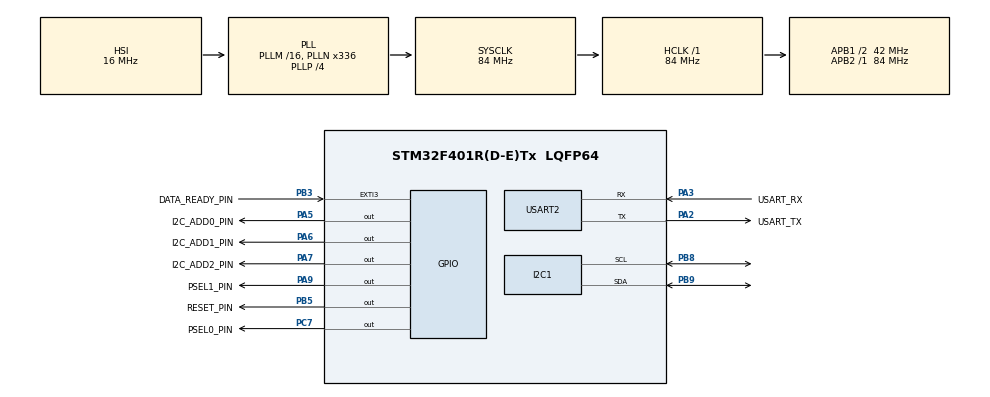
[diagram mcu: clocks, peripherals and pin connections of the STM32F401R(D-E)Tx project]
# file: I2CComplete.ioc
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I2C1.DutyCycle=I2C_DUTYCYCLE_16_9
I2C1.I2C_Mode=I2C_Fast
Mcu.Family=STM32F4
Mcu.Name=STM32F401R(D-E)Tx
Mcu.Package=LQFP64
NVIC.EXTI3_IRQn=true\:0\:0\:false\:false\:true\:true\:true\:true
NVIC.PriorityGroup=NVIC_PRIORITYGROUP_0
PA2.GPIO_Label=USART_TX
PA2.GPIO_Mode=GPIO_MODE_AF_PP
PA2.GPIO_PuPd=GPIO_NOPULL
PA2.GPIO_Speed=GPIO_SPEED_FREQ_LOW
PA2.Mode=Asynchronous
PA2.Signal=USART2_TX
PA3.GPIO_Label=USART_RX
PA3.GPIO_Mode=GPIO_MODE_AF_PP
PA3.GPIO_PuPd=GPIO_NOPULL
PA3.GPIO_Speed=GPIO_SPEED_FREQ_LOW
PA3.Mode=Asynchronous
PA3.Signal=USART2_RX
PA5.GPIO_Label=I2C_ADD0_PIN
PA5.PinState=GPIO_PIN_SET
PA5.Signal=GPIO_Output
PA6.GPIO_Label=I2C_ADD1_PIN
PA6.PinState=GPIO_PIN_SET
PA6.Signal=GPIO_Output
PA7.GPIO_Label=I2C_ADD2_PIN
PA7.PinState=GPIO_PIN_SET
PA7.Signal=GPIO_Output
PA9.GPIO_Label=PSEL1_PIN
PA9.PinState=GPIO_PIN_SET
PA9.Signal=GPIO_Output
PB3.GPIO_Label=DATA_READY_PIN
PB3.GPIO_ModeDefaultEXTI=GPIO_MODE_IT_RISING_FALLING
PB3.GPIO_PuPd=GPIO_PULLDOWN
PB3.Signal=GPXTI3
PB5.GPIO_Label=RESET_PIN
PB5.GPIO_Speed=GPIO_SPEED_FREQ_HIGH
PB5.Signal=GPIO_Output
PB8.Mode=I2C
PB8.Signal=I2C1_SCL
PB9.Mode=I2C
PB9.Signal=I2C1_SDA
PC7.GPIO_Label=PSEL0_PIN
PC7.PinState=GPIO_PIN_SET
PC7.Signal=GPIO_Output
ProjectManager.HeapSize=0x200
ProjectManager.StackSize=0x400
ProjectManager.TargetToolchain=STM32CubeIDE
RCC.48MHZClocksFreq_Value=48000000
RCC.AHBFreq_Value=84000000
RCC.APB1CLKDivider=RCC_HCLK_DIV2
RCC.APB1Freq_Value=42000000
RCC.APB1TimFreq_Value=84000000
RCC.APB2Freq_Value=84000000
RCC.APB2TimFreq_Value=84000000
RCC.CortexFreq_Value=84000000
RCC.HCLKFreq_Value=84000000
RCC.HSE_VALUE=8000000
RCC.HSI_VALUE=16000000
RCC.LSE_VALUE=32768
RCC.PLLN=336
RCC.PLLP=RCC_PLLP_DIV4
RCC.PLLQ=7
RCC.SYSCLKFreq_VALUE=84000000
RCC.SYSCLKSource=RCC_SYSCLKSOURCE_PLLCLK
RCC.VCOOutputFreq_Value=336000000
USART2.VirtualMode=VM_ASYNC
board=NUCLEO-F401RE

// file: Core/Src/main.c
/* USER CODE BEGIN Header */
/**
  ******************************************************************************
  * @file           : main.c
  * @brief          : Main program body
  ******************************************************************************
  * @attention
  *
  * Copyright (c) 2023 STMicroelectronics.
  * All rights reserved.
  *
  * This software is licensed under terms that can be found in the LICENSE file
  * in the root directory of this software component.
  * If no LICENSE file comes with this software, it is provided AS-IS.
  *
  ******************************************************************************
  */
/* USER CODE END Header */
#include "main.h"

/* USER CODE BEGIN Includes */
#include "MTi.h"
#include "myDebug.h"
/* USER CODE END Includes */

/* USER CODE BEGIN PTD */
#define MTII2CADDRESS 0x6B
/* USER CODE END PTD */

I2C_HandleTypeDef hi2c1;

UART_HandleTypeDef huart2;

/* USER CODE BEGIN PV */
MTi MyMTi;

void setup();
void loop();
/* USER CODE END PV */

void SystemClock_Config(void);
static void MX_GPIO_Init(void);
static void MX_I2C1_Init(void);
static void MX_USART2_UART_Init(void);

int main(void)
{

  /* MCU Configuration--------------------------------------------------------*/

  /* Reset of all peripherals, Initializes the Flash interface and the Systick. */
  HAL_Init();

  /* Configure the system clock */
  SystemClock_Config();

  /* Initialize all configured peripherals */
  MX_GPIO_Init();
  MX_I2C1_Init();
  MX_USART2_UART_Init();
  /* USER CODE BEGIN 2 */
  setup();
  /* USER CODE END 2 */

  /* Infinite loop */
  while (1)
  {
	  loop();
	  HAL_Delay(500);
  }
}

void SystemClock_Config(void)
{
  RCC_OscInitTypeDef RCC_OscInitStruct = {0};
  RCC_ClkInitTypeDef RCC_ClkInitStruct = {0};

  /** Configure the main internal regulator output voltage
  */
  __HAL_RCC_PWR_CLK_ENABLE();
  __HAL_PWR_VOLTAGESCALING_CONFIG(PWR_REGULATOR_VOLTAGE_SCALE2);

  /** Initializes the RCC Oscillators according to the specified parameters
  * in the RCC_OscInitTypeDef structure.
  */
  RCC_OscInitStruct.OscillatorType = RCC_OSCILLATORTYPE_HSI;
  RCC_OscInitStruct.HSIState = RCC_HSI_ON;
  RCC_OscInitStruct.HSICalibrationValue = RCC_HSICALIBRATION_DEFAULT;
  RCC_OscInitStruct.PLL.PLLState = RCC_PLL_ON;
  RCC_OscInitStruct.PLL.PLLSource = RCC_PLLSOURCE_HSI;
  RCC_OscInitStruct.PLL.PLLM = 16;
  RCC_OscInitStruct.PLL.PLLN = 336;
  RCC_OscInitStruct.PLL.PLLP = RCC_PLLP_DIV4;
  RCC_OscInitStruct.PLL.PLLQ = 7;
  if (HAL_RCC_OscConfig(&RCC_OscInitStruct) != HAL_OK)
  {
    Error_Handler();
  }

  /** Initializes the CPU, AHB and APB buses clocks
  */
  RCC_ClkInitStruct.ClockType = RCC_CLOCKTYPE_HCLK|RCC_CLOCKTYPE_SYSCLK
                              |RCC_CLOCKTYPE_PCLK1|RCC_CLOCKTYPE_PCLK2;
  RCC_ClkInitStruct.SYSCLKSource = RCC_SYSCLKSOURCE_PLLCLK;
  RCC_ClkInitStruct.AHBCLKDivider = RCC_SYSCLK_DIV1;
  RCC_ClkInitStruct.APB1CLKDivider = RCC_HCLK_DIV2;
  RCC_ClkInitStruct.APB2CLKDivider = RCC_HCLK_DIV1;

  if (HAL_RCC_ClockConfig(&RCC_ClkInitStruct, FLASH_LATENCY_2) != HAL_OK)
  {
    Error_Handler();
  }
}

static void MX_I2C1_Init(void)
{

  hi2c1.Instance = I2C1;
  hi2c1.Init.ClockSpeed = 400000;
  hi2c1.Init.DutyCycle = I2C_DUTYCYCLE_16_9;
  hi2c1.Init.OwnAddress1 = 0;
  hi2c1.Init.AddressingMode = I2C_ADDRESSINGMODE_7BIT;
  hi2c1.Init.DualAddressMode = I2C_DUALADDRESS_DISABLE;
  hi2c1.Init.OwnAddress2 = 0;
  hi2c1.Init.GeneralCallMode = I2C_GENERALCALL_DISABLE;
  hi2c1.Init.NoStretchMode = I2C_NOSTRETCH_DISABLE;
  if (HAL_I2C_Init(&hi2c1) != HAL_OK)
  {
    Error_Handler();
  }

}

static void MX_USART2_UART_Init(void)
{

  huart2.Instance = USART2;
  huart2.Init.BaudRate = 115200;
  huart2.Init.WordLength = UART_WORDLENGTH_8B;
  huart2.Init.StopBits = UART_STOPBITS_1;
  huart2.Init.Parity = UART_PARITY_NONE;
  huart2.Init.Mode = UART_MODE_TX_RX;
  huart2.Init.HwFlowCtl = UART_HWCONTROL_NONE;
  huart2.Init.OverSampling = UART_OVERSAMPLING_16;
  if (HAL_UART_Init(&huart2) != HAL_OK)
  {
    Error_Handler();
  }

}

static void MX_GPIO_Init(void)
{
  GPIO_InitTypeDef GPIO_InitStruct = {0};

  /* GPIO Ports Clock Enable */
  __HAL_RCC_GPIOA_CLK_ENABLE();
  __HAL_RCC_GPIOC_CLK_ENABLE();
  __HAL_RCC_GPIOB_CLK_ENABLE();

  /*Configure GPIO pin Output Level */
  HAL_GPIO_WritePin(GPIOA, I2C_ADD0_PIN_Pin|I2C_ADD1_PIN_Pin|I2C_ADD2_PIN_Pin|PSEL1_PIN_Pin, GPIO_PIN_SET);

  /*Configure GPIO pin Output Level */
  HAL_GPIO_WritePin(PSEL0_PIN_GPIO_Port, PSEL0_PIN_Pin, GPIO_PIN_SET);

  /*Configure GPIO pin Output Level */
  HAL_GPIO_WritePin(RESET_PIN_GPIO_Port, RESET_PIN_Pin, GPIO_PIN_RESET);

  /*Configure GPIO pins : I2C_ADD0_PIN_Pin I2C_ADD1_PIN_Pin I2C_ADD2_PIN_Pin PSEL1_PIN_Pin */
  GPIO_InitStruct.Pin = I2C_ADD0_PIN_Pin|I2C_ADD1_PIN_Pin|I2C_ADD2_PIN_Pin|PSEL1_PIN_Pin;
  GPIO_InitStruct.Mode = GPIO_MODE_OUTPUT_PP;
  GPIO_InitStruct.Pull = GPIO_NOPULL;
  GPIO_InitStruct.Speed = GPIO_SPEED_FREQ_LOW;
  HAL_GPIO_Init(GPIOA, &GPIO_InitStruct);

  /*Configure GPIO pin : PSEL0_PIN_Pin */
  GPIO_InitStruct.Pin = PSEL0_PIN_Pin;
  GPIO_InitStruct.Mode = GPIO_MODE_OUTPUT_PP;
  GPIO_InitStruct.Pull = GPIO_NOPULL;
  GPIO_InitStruct.Speed = GPIO_SPEED_FREQ_LOW;
  HAL_GPIO_Init(PSEL0_PIN_GPIO_Port, &GPIO_InitStruct);

  /*Configure GPIO pin : DATA_READY_PIN_Pin */
  GPIO_InitStruct.Pin = DATA_READY_PIN_Pin;
  GPIO_InitStruct.Mode = GPIO_MODE_IT_RISING_FALLING;
  GPIO_InitStruct.Pull = GPIO_PULLDOWN;
  GPIO_InitStruct.Speed = GPIO_SPEED_FREQ_HIGH;
  HAL_GPIO_Init(DATA_READY_PIN_GPIO_Port, &GPIO_InitStruct);

  /*Configure GPIO pin : RESET_PIN_Pin */
  GPIO_InitStruct.Pin = RESET_PIN_Pin;
  GPIO_InitStruct.Mode = GPIO_MODE_OUTPUT_PP;
  GPIO_InitStruct.Pull = GPIO_NOPULL;
  GPIO_InitStruct.Speed = GPIO_SPEED_FREQ_HIGH;
  HAL_GPIO_Init(RESET_PIN_GPIO_Port, &GPIO_InitStruct);

  /* EXTI interrupt init*/
  HAL_NVIC_SetPriority(EXTI3_IRQn, 0, 0);
  HAL_NVIC_EnableIRQ(EXTI3_IRQn);

}

/* USER CODE BEGIN 4 */
void setup() {
	MTi_init(&MyMTi, MTII2CADDRESS, DATA_READY_PIN_GPIO_Port, DATA_READY_PIN_Pin);
//	printDebug("MTi Init Okay.");
//
	if (!MTi_detect(&MyMTi, 1000)) {
		printDebug("Please check your hardware connections.\n");
		while (1) {
			//Cannot continue because no MTi was detected.
		}
	} else {
		MTi_goToConfig(&MyMTi);
		MTi_requestDeviceInfo(&MyMTi);
		MTi_configureOutputs(&MyMTi);
		MTi_goToMeasurement(&MyMTi);
	}
}

void loop() {
	if (HAL_GPIO_ReadPin(MyMTi.drdy_port, MyMTi.drdy_pin)) {
		MTi_readMessages(&MyMTi);
	}
	HAL_Delay(10);
}
/* USER CODE END 4 */

void Error_Handler(void)
{
  __disable_irq();
  while (1)
  {
  }
}
